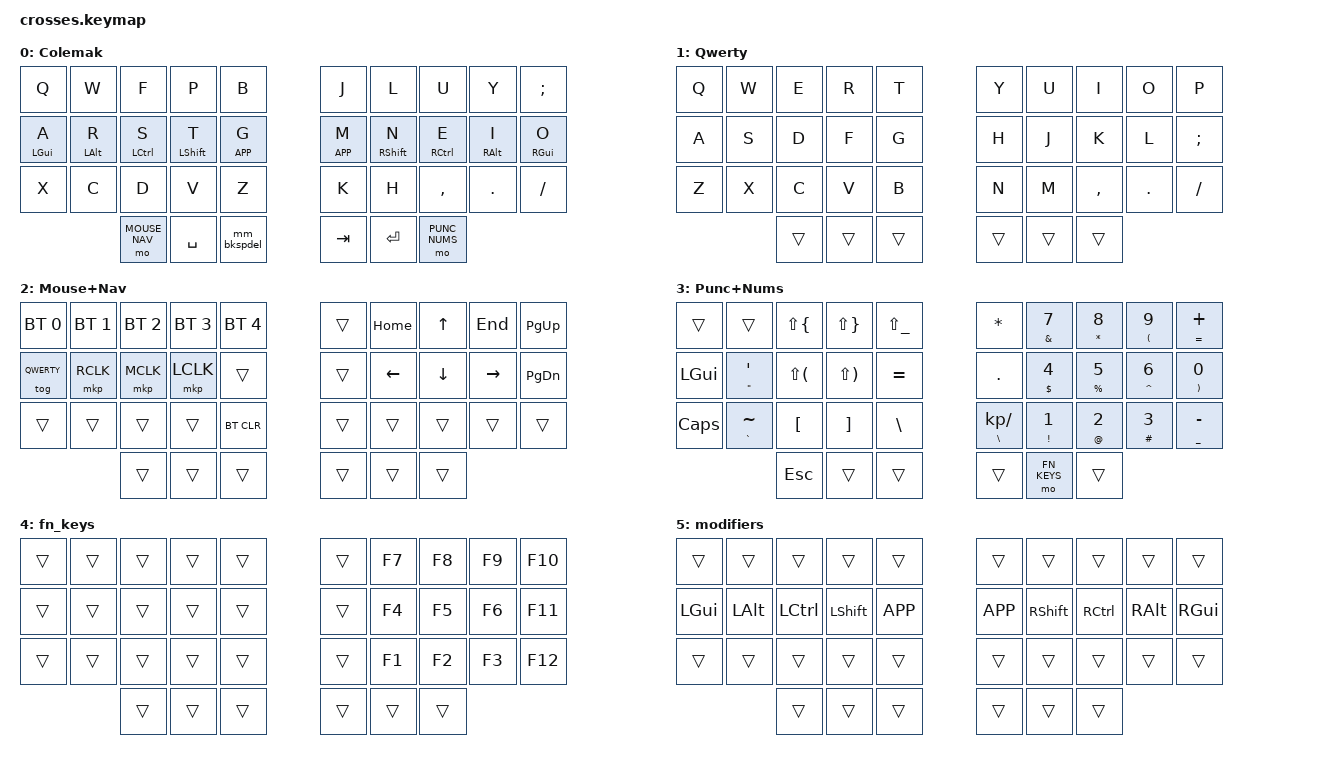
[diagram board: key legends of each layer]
#include <zephyr/dt-bindings/input/input-event-codes.h>
#include <behaviors.dtsi>
#include <dt-bindings/zmk/bt.h>
#include <dt-bindings/zmk/keys.h>
#include <dt-bindings/zmk/pointing.h>

#define COLEMAK 0
#define QWERTY 1
#define MOUSE_NAV 2
#define PUNC_NUMS 3
#define FN_KEYS 4
#define MODIFIERS 5

/ {
    chosen { zmk,physical-layout = &gggw_crosses_36_layout; };

    behaviors {
        as: auto_shift {
            compatible = "zmk,behavior-hold-tap";
            #binding-cells = <2>;
            tapping_term_ms = <200>;
            quick_tap_ms = <0>;
            flavor = "tap-preferred";
            bindings = <&kp>, <&kp>;
        };

        caps_word: caps_word {
            compatible = "zmk,behavior-caps-word";
            label = "CAPS_WORD";
            #binding-cells = <0>;
            mods = <(MOD_RSFT)>;
            continue-list = <UNDERSCORE MINUS>;
        };

        mm_bkspdel: modmorph_bkspdel {
            compatible = "zmk,behavior-mod-morph";
            label = "modmorph_bkspdel";
            bindings = <&kp BACKSPACE>, <&kp DEL>;

            #binding-cells = <0>;
            mods = <(MOD_LSFT|MOD_RSFT)>;
        };
    };

    combos {
        compatible = "zmk,combos";

        combo_mods {
            bindings = <&sl MODIFIERS>;
            key-positions = <30 31>;
        };

        combo_fnkeys {
            bindings = <&sl FN_KEYS>;
            key-positions = <34 35>;
        };
    };

    keymap {
        compatible = "zmk,keymap";

        colemak {
            display-name = "Colemak";
            bindings = <
&kp Q       &kp W       &kp F          &kp P         &kp B        &kp J        &kp L         &kp U          &kp Y       &kp SEMICOLON
&as LGUI A  &as LALT R  &as LCTRL S    &as LSHIFT T  &as K_APP G  &as K_APP M  &as RSHIFT N  &as RCTRL E    &as RALT I  &as RGUI O
&kp X       &kp C       &kp D          &kp V         &kp Z        &kp K        &kp H         &kp COMMA      &kp PERIOD  &kp SLASH
                        &mo MOUSE_NAV  &kp SPACE     &mm_bkspdel  &kp TAB      &kp RET       &mo PUNC_NUMS
            >;
        };

        qwerty {
            display-name = "Qwerty";
            bindings = <
&kp Q  &kp W  &kp E   &kp R   &kp T   &kp Y   &kp U   &kp I      &kp O    &kp P
&kp A  &kp S  &kp D   &kp F   &kp G   &kp H   &kp J   &kp K      &kp L    &kp SEMI
&kp Z  &kp X  &kp C   &kp V   &kp B   &kp N   &kp M   &kp COMMA  &kp DOT  &kp FSLH
              &trans  &trans  &trans  &trans  &trans  &trans
            >;
        };

        nav_layer {
            display-name = "Mouse+Nav";
            bindings = <
&bt BT_SEL 0  &bt BT_SEL 1  &bt BT_SEL 2  &bt BT_SEL 3  &bt BT_SEL 4  &trans  &kp HOME  &kp UP    &kp END    &kp PAGE_UP
&tog QWERTY   &mkp RCLK     &mkp MCLK     &mkp LCLK     &trans        &trans  &kp LEFT  &kp DOWN  &kp RIGHT  &kp PAGE_DOWN
&trans        &trans        &trans        &trans        &bt BT_CLR    &trans  &trans    &trans    &trans     &trans
                            &trans        &trans        &trans        &trans  &trans    &trans
            >;
        };

        punctuation_and_numbers {
            display-name = "Punc+Nums";
            bindings = <
&trans    &trans                          &kp LS(LBRC)  &kp LS(RBRC)  &kp LS(UNDER)  &kp ASTRK               &as AMPS N7    &as ASTRK N8    &as LPAR N9   &as EQUAL PLUS
&kp LGUI  &as DOUBLE_QUOTES SINGLE_QUOTE  &kp LS(LPAR)  &kp LS(RPAR)  &kp EQUAL      &kp DOT                 &as DOLLAR N4  &as PERCENT N5  &as CARET N6  &as RPAR N0
&kp CAPS  &as GRAVE TILDE                 &kp LBKT      &kp RBKT      &kp BSLH       &as BACKSLASH KP_SLASH  &as EXCL N1    &as AT N2       &as POUND N3  &as UNDER MINUS
                                          &kp ESC       &trans        &trans         &trans                  &mo FN_KEYS    &trans
            >;
        };

        fn_keys {
            display-name = "fn_keys";
            bindings = <
&trans  &trans  &trans  &trans  &trans  &trans  &kp F7  &kp F8  &kp F9  &kp F10
&trans  &trans  &trans  &trans  &trans  &trans  &kp F4  &kp F5  &kp F6  &kp F11
&trans  &trans  &trans  &trans  &trans  &trans  &kp F1  &kp F2  &kp F3  &kp F12
                &trans  &trans  &trans  &trans  &trans  &trans
            >;
        };

        mod_keys {
            display-name = "modifiers";
            bindings = <
&trans    &trans    &trans     &trans      &trans     &trans     &trans      &trans     &trans    &trans
&kp LGUI  &kp LALT  &kp LCTRL  &kp LSHIFT  &kp K_APP  &kp K_APP  &kp RSHIFT  &kp RCTRL  &kp RALT  &kp RGUI
&trans    &trans    &trans     &trans      &trans     &trans     &trans      &trans     &trans    &trans
                    &trans     &trans      &trans     &trans     &trans      &trans
            >;
        };
    };
};
